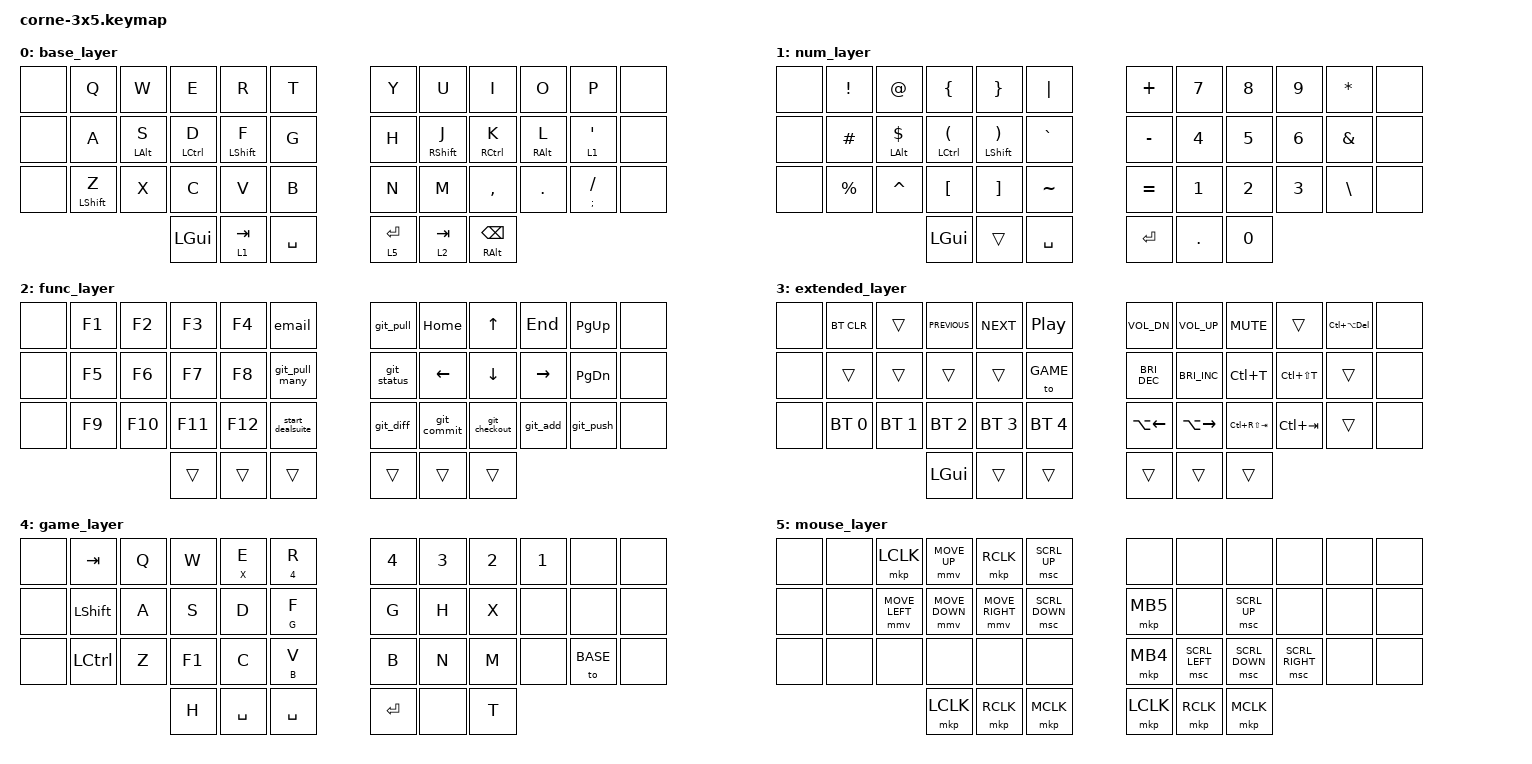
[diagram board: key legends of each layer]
/*
 * Copyright (c) 2020 The ZMK Contributors
 *
 * SPDX-License-Identifier: MIT
 */

#include <behaviors.dtsi>
#include <dt-bindings/zmk/bt.h>
#include <dt-bindings/zmk/keys.h>

#define ZMK_POINTING_DEFAULT_MOVE_VAL 1500  // default: 600
#define ZMK_POINTING_DEFAULT_SCRL_VAL 20    // default: 10

#include <dt-bindings/zmk/pointing.h>

#define BASE  0
#define NUM   1
#define FUNC  2
#define EXT   3
#define GAME  4
#define MOUSE 5

&soft_off {
    hold-time-ms = <2000>; // Only turn off it the key is held for 2 seconds or longer.
};


/ {
    behaviors {
        hm: homerow_mods {
            compatible = "zmk,behavior-hold-tap";
            bindings = <&kp>, <&kp>;

            #binding-cells = <2>;
            tapping-term-ms = <200>;
            flavor = "tap-preferred";
            require-prior-idle-ms = <125>;
            quick-tap-ms = <200>;
        };
    };

    combos {
        compatible = "zmk,combos";

        Clear_BLE_Profile {
            bindings = <&bt BT_CLR>;
            key-positions = <38 5 1>;
        };

        space {
            bindings = <&kp SPACE>;
            key-positions = <18 19>;
        };

        enter {
            bindings = <&kp ENTER>;
            key-positions = <17 16>;
        };

        return {
            bindings = <&kp RET>;
            key-positions = <21 22>;
        };

        escape {
            bindings = <&kp ESC>;
            key-positions = <1 2>;
        };

        underline {
            bindings = <&kp UNDER>;
            key-positions = <8 7>;
        };

        dash {
            bindings = <&kp MINUS>;
            key-positions = <7 6>;
        };

        backslsh {
            bindings = <&kp BSLH>;
            key-positions = <33 34>;
        };

        reload {
            bindings = <&kp LC(R)>;
            key-positions = <4 5>;
        };

        undo {
            bindings = <&kp LC(Z)>;
            key-positions = <26 25>;
        };

        cut {
            bindings = <&kp LC(X)>;
            key-positions = <26 27>;
        };

        copy {
            bindings = <&kp LC(C)>;
            key-positions = <27 28>;
        };

        paste {
            bindings = <&kp LC(V)>;
            key-positions = <28 29>;
        };

        select_all {
            bindings = <&kp LC(A)>;
            key-positions = <13 14>;
        };

        save {
            bindings = <&kp LC(S)>;
            key-positions = <14 15>;
        };

        all_caps {
            bindings = <&kp CAPS>;
            key-positions = <16 19>;
        };

        soft_off {
            bindings = <&soft_off>;
            key-positions = <25 29 38>;
        };

        backspace {
            bindings = <&kp BACKSPACE>;
            key-positions = <10 9>;
        };
    };

    macros {
        email: email {
            compatible = "zmk,behavior-macro";
            #binding-cells = <0>;
            bindings = <&none &kp B &kp R &kp Y &kp A &kp N &kp AT &kp P &kp E &kp C &kp J &kp O &kp DOT &kp C &kp O &kp M>;
            wait-ms = <0>; 
        };

        git_status: git_status {
            compatible = "zmk,behavior-macro";
            #binding-cells = <0>;
            bindings = <&kp G &kp I &kp T &kp SPACE &kp S &kp T &kp A &kp T &kp U &kp S>;
            wait-ms = <0>; 
        };

        git_pull: git_pull {
            compatible = "zmk,behavior-macro";
            #binding-cells = <0>;
            bindings = <&kp G &kp I &kp T &kp SPACE &kp P &kp U &kp L &kp L>;
            wait-ms = <0>; 
        };

        git_pull_many: git_pull_many {
            compatible = "zmk,behavior-macro";
            #binding-cells = <0>;
            bindings = <
                &kp LC(R) &kp G &kp I &kp T &kp SPACE
                &kp MINUS &kp LEFT_SHIFT &kp C
                &kp SPACE &kp LBRC &kp RBRC &kp SPACE
                &kp P &kp U &kp L &kp L &kp SQT
            >;
            wait-ms = <0>; 
        };

        git_push: git_push {
            compatible = "zmk,behavior-macro";
            #binding-cells = <0>;
            bindings = <&kp G &kp I &kp T &kp SPACE &kp P &kp U &kp S &kp H>;
            wait-ms = <0>; 
        };

        git_add: git_add {
            compatible = "zmk,behavior-macro";
            #binding-cells = <0>;
            bindings = <&kp G &kp I &kp T &kp SPACE &kp A &kp D &kp D &kp SPACE &kp DOT>;
            wait-ms = <0>; 
        };

        git_diff: git_diff {
            compatible = "zmk,behavior-macro";
            #binding-cells = <0>;
            bindings = <&kp G &kp I &kp T &kp SPACE &kp D &kp I &kp F &kp F>;
            wait-ms = <0>; 
        };

        git_checkout: git_checkout {
            compatible = "zmk,behavior-macro";
            #binding-cells = <0>;
            bindings = <&kp G &kp I &kp T &kp SPACE &kp C &kp H &kp E &kp C &kp K &kp O &kp U &kp T &kp SPACE>;
            wait-ms = <0>; 
        };

        git_commit: git_commit {
            compatible = "zmk,behavior-macro";
            #binding-cells = <0>;
            bindings = <
                &kp G &kp I &kp T &kp SPACE &kp C &kp O &kp M &kp M &kp I &kp T &kp SPACE 
                &kp MINUS &kp M &kp SPACE &kp DOUBLE_QUOTES &kp DOUBLE_QUOTES &kp LEFT
            >;
            wait-ms = <0>; 
        };

        start_dealsuite: start_dealsuite {
            compatible = "zmk,behavior-macro";
            #binding-cells = <0>;
            bindings = <
                // CTRL+R, 'cele', Return, press 1, Return
                &kp LC(R)
                &macro_wait_time 50
                &kp C &kp E &kp L &kp E 
                &macro_wait_time 1000 
                &kp RET &kp N1 &kp RET

                // New Tab, CTRL+R, 'run d', Return
                &macro_wait_time 2000
                &kp LC(LS(N5))
                &kp LC(R)
                &macro_wait_time 50
                &kp R &kp U &kp N &kp SPACE &kp D &kp RET

                // New Tab, CTRL+R, type 'app.p', Return
                &macro_wait_time 2000
                &kp LC(LS(N5))
                &kp LC(R)
                &macro_wait_time 50
                &kp A &kp P &kp P &kp DOT &kp P &kp RET

                // New Tab, CTRL+R, 'runse', Return
                &macro_wait_time 2000
                &kp LC(LS(N5))
                &kp LC(R)
                &macro_wait_time 50
                &kp R &kp U &kp N &kp S &kp E &kp RET
            >;
        };
    };

    keymap {
        compatible = "zmk,keymap";

        base_layer {
            //╭──────────┬──────────┬──────────┬──────────┬──────────╮   ╭──────────┬──────────┬──────────┬──────────┬──────────╮
            //│    Q   [esc]  W     │     E    │    R [reload]  T    │   │   Y    [ - ]  U   [ _ ]  I     │   O    [ ⌫ ]  P    │
            //├──────────┼──────────┼──────────┼──────────┼──────────┤   ├──────────┼──────────┼──────────┼──────────┼──────────┤
            //│    A   [all]  S   [save]  D    │    F   [ ↵ ]   G    │   │   H   [space]  J    │    K     │   L    [ ↵ ]  '"    │
            //├──────────┼──────────┼──────────┼──────────┼──────────┤   ├──────────┼──────────┼──────────┼──────────┼──────────┤
            //│    Z  [undo]  X   [cut]   C  [copy] V  [paste]  B    │   │   N      │    M     │   ,<     │  .>    [ \ ]  /?    │
            //╰──────────┴──────────┼──────────┼──────────┼──────────┤   ├──────────┼──────────┼──────────┼──────────┴──────────╯
            //                      │  WIN     │  LWR/↹  │  SPACE   │   │  🖯/⏎    │  RSE/↹  │  ALT/⌫  │
            //                      ╰──────────┴──────────┴──────────╯   ╰──────────┴──────────┴──────────╯

            bindings = <
&none  &kp Q             &kp W           &kp E        &kp R             &kp T        &kp Y     &kp U             &kp I                    &kp O            &kp P         &none
&none  &kp A             &hm LEFT_ALT S  &hm LCTRL D  &hm LEFT_SHIFT F  &kp G        &kp H     &hm RIGHT_SHIFT J &hm RCTRL K              &hm RIGHT_ALT L  &lt 1 SQT     &none
&none  &hm LEFT_SHIFT Z  &kp X           &kp C        &kp V             &kp B        &kp N     &kp M             &kp COMMA                &kp DOT          &hm SEMI FSLH &none
                                         &kp LGUI     &lt 1 TAB         &kp SPACE    &lt 5 RET &lt 2 TAB         &hm RIGHT_ALT BACKSPACE
            >;
        };

        num_layer {
            //╭──────────┬──────────┬──────────┬──────────┬──────────╮   ╭──────────┬──────────┬──────────┬──────────┬──────────╮
            //|  !       |  @       |  {       |  }       | "|"      |   |  +       |  7       |  8       |  9       |  *       |
            //├──────────┼──────────┼──────────┼──────────┼──────────┤   ├──────────┼──────────┼──────────┼──────────┼──────────┤
            //|  #       |  $       |  (       |  )       |  `       |   |  -       |  4       |  5       |  6       |  &       |
            //├──────────┼──────────┼──────────┼──────────┼──────────┤   ├──────────┼──────────┼──────────┼──────────┼──────────┤
            //|  %       |  ^       |  [       |  ]       |  ~       |   |  =       |  1       |  2       |  3       |  \       |
            //╰──────────┴──────────┼──────────┼──────────┼──────────┤   ├──────────┼──────────┼──────────┼──────────┴──────────╯
            //                      |  WIN     |          |  SPACE   │   │  ENTER   │  .       |  0       |
            //                      ╰──────────┴──────────┴──────────╯   ╰──────────┴──────────┴──────────╯

            bindings = <
&none  &kp EXCL     &kp AT               &kp LBRC        &kp RBRC             &kp PIPE     &kp PLUS   &kp N7   &kp N8  &kp N9  &kp STAR  &none
&none  &kp HASH     &hm LEFT_ALT DOLLAR  &hm LCTRL LPAR  &hm LEFT_SHIFT RPAR  &kp GRAVE    &kp MINUS  &kp N4   &kp N5  &kp N6  &kp AMPS  &none
&none  &kp PERCENT  &kp CARET            &kp LBKT        &kp RBKT             &kp TILDE    &kp EQUAL  &kp N1   &kp N2  &kp N3  &kp BSLH  &none
                                         &kp LGUI        &trans               &kp SPACE    &kp RET    &kp DOT  &kp N0
            >;
        };

        func_layer {
            //╭──────────┬──────────┬──────────┬──────────┬──────────╮   ╭──────────┬──────────┬──────────┬──────────┬──────────╮
            //|   F1     |  F2      |  F3      |  F4      | email    |   | g.pull   |  HOME    |  ▲       |  END     |  PG_UP   |
            //├──────────┼──────────┼──────────┼──────────┼──────────┤   ├──────────┼──────────┼──────────┼──────────┼──────────┤
            //|   F5     |  F6      |  F7      |  F8      | g.pull_m |   | g.status |   ◄      |  ▼       |  ►       |  PG_DN   |
            //├──────────┼──────────┼──────────┼──────────┼──────────┤   ├──────────┼──────────┼──────────┼──────────┼──────────┤
            //|   F9     |  F10     |  F11     |  F12     | dealsuit |   | g.diff   | g.commit | g.chkout |  g.add   |  g.push  |
            //╰──────────┴──────────┼──────────┼──────────┼──────────┤   ├──────────┼──────────┼──────────┼──────────┴──────────╯
            //                      |  WIN     |          |          |   |          |  RSE     |  RALT    |
            //                      ╰──────────┴──────────┴──────────╯   ╰──────────┴──────────┴──────────╯

            bindings = <
&none  &kp F1  &kp F2   &kp F3   &kp F4   &email            &git_pull    &kp HOME     &kp UP         &kp END    &kp PG_UP      &none
&none  &kp F5  &kp F6   &kp F7   &kp F8   &git_pull_many    &git_status  &kp LEFT     &kp DOWN       &kp RIGHT  &kp PAGE_DOWN  &none
&none  &kp F9  &kp F10  &kp F11  &kp F12  &start_dealsuite  &git_diff    &git_commit  &git_checkout  &git_add   &git_push      &none
                        &trans   &trans   &trans            &trans       &trans       &trans
            >;
        };

        extended_layer {
            //╭──────────┬──────────┬──────────┬──────────┬──────────╮   ╭──────────┬──────────┬──────────┬──────────┬──────────╮
            //| BT CLR   |          |  Prv     |  Nxt     |  ►II     |   |  Vol-    |  Vol+    |  Mute    |          |  ^ALT⌦  |
            //├──────────┼──────────┼──────────┼──────────┼──────────┤   ├──────────┼──────────┼──────────┼──────────┼──────────┤
            //|          |          |          |          |          |   |  Bri-    |  Bri+    |  ^ T     |  ^⇧ T    |          |
            //├──────────┼──────────┼──────────┼──────────┼──────────┤   ├──────────┼──────────┼──────────┼──────────┼──────────┤
            //|  BT1     |  BT2     |  BT3     |  BT4     |  BT5     |   |  alt-L   |  alt-R   |  ^ Tab   |  ^⇧ Tab  |          |
            //╰──────────┴──────────┼──────────┼──────────┼──────────┤   ├──────────┼──────────┼──────────┼──────────┴──────────╯
            //                      |  WIN     |          |          |   |          |          |          |
            //                      ╰──────────┴──────────┴──────────╯   ╰──────────┴──────────┴──────────╯
            bindings = <
&none  &bt BT_CLR    &trans        &kp C_PREVIOUS  &kp C_NEXT    &kp C_PLAY_PAUSE    &kp C_VOL_DN          &kp C_VOL_UP          &kp C_MUTE       &trans         &kp LC(LA(DEL))  &none
&none  &trans        &trans        &trans          &trans        &to GAME            &kp C_BRIGHTNESS_DEC  &kp C_BRIGHTNESS_INC  &kp LC(T)        &kp LC(LS(T))  &trans           &none
&none  &bt BT_SEL 0  &bt BT_SEL 1  &bt BT_SEL 2    &bt BT_SEL 3  &bt BT_SEL 4        &kp LA(LEFT)          &kp LA(RIGHT)         &kp LC(RS(TAB))  &kp LC(TAB)    &trans           &none
                                   &kp LGUI        &trans        &trans              &trans                &trans                &trans
            >;
        };

        game_layer {
            //╭──────────┬──────────┬──────────┬──────────┬──────────╮   ╭──────────┬──────────┬──────────┬──────────┬──────────╮
            //|  Inv     |  Tact.A  |  ▲       |  Hands   |  Reload  |   | Health   |  3       |  4       |   1      |   2      |
            //├──────────┼──────────┼──────────┼──────────┼──────────┤   ├──────────┼──────────┼──────────┼──────────┼──────────┤
            //|  Sprint  |  ◄       |  ▼       |  ►       |  Ping    |   | Grenade  | CharMove |  X       |          |          |
            //├──────────┼──────────┼──────────┼──────────┼──────────┤   ├──────────┼──────────┼──────────┼──────────┼──────────┤
            //|  Crouch  |  Ulti.A  |  F1      |  Crouch  |  Melee   |   | FireMode | Look Gun |  Map     |          |  BASE L  |
            //╰──────────┴──────────┼──────────┼──────────┼──────────┤   ├──────────┼──────────┼──────────┼──────────┴──────────╯
            //                      |  Grenade |  Health  | Jump     │   │  ENTER   │          |  T       |
            //                      ╰──────────┴──────────┴──────────╯   ╰──────────┴──────────┴──────────╯
            bindings = <
&none  &kp TAB    &kp Q  &kp W   &hm X E    &hm N4 R     &kp N4   &kp N3  &kp N2  &kp N1  &none     &none
&none  &kp LSHFT  &kp A  &kp S   &kp D      &hm G F      &kp G    &kp H   &kp X   &none   &none     &none
&none  &kp LCTRL  &kp Z  &kp F1  &kp C      &hm B V      &kp B    &kp N   &kp M   &none   &to BASE  &none
                         &kp H   &kp SPACE  &kp SPACE    &kp RET  &none   &kp T
            >;
        };

        mouse_layer {
            //╭──────────┬──────────┬──────────┬──────────┬──────────╮   ╭──────────┬──────────┬──────────┬──────────┬──────────╮
            //|          | L.Click  |  ▲       | R.Click  |  S ▲     |   |          |          |          |          |          |
            //├──────────┼──────────┼──────────┼──────────┼──────────┤   ├──────────┼──────────┼──────────┼──────────┼──────────┤
            //|          |  ◄       |  ▼       |  ►       |  S ▼     |   | forward  |          |  S ▲     |          |          |
            //├──────────┼──────────┼──────────┼──────────┼──────────┤   ├──────────┼──────────┼──────────┼──────────┼──────────┤
            //|          |          |          |          |          |   |   back   |  S ◄     |  S ▼     |  S ►     |          |
            //╰──────────┴──────────┼──────────┼──────────┼──────────┤   ├──────────┼──────────┼──────────┼──────────┴──────────╯
            //                      | L.Click  | R.Click  | M.Click  │   │ L.Click  | R.Click  | M.Click  |
            //                      ╰──────────┴──────────┴──────────╯   ╰──────────┴──────────┴──────────╯
            bindings = <
&none  &none  &mkp LCLK      &mmv MOVE_UP   &mkp RCLK       &msc SCRL_UP      &none      &none          &none          &none           &none  &none
&none  &none  &mmv MOVE_LEFT &mmv MOVE_DOWN &mmv MOVE_RIGHT &msc SCRL_DOWN    &mkp MB5   &none          &msc SCRL_UP   &none           &none  &none
&none  &none  &none          &none          &none           &none             &mkp MB4   &msc SCRL_LEFT &msc SCRL_DOWN &msc SCRL_RIGHT &none  &none
                             &mkp LCLK      &mkp RCLK       &mkp MCLK         &mkp LCLK  &mkp RCLK &mkp MCLK
            >;
        };
    };

    conditional_layers {
        compatible = "zmk,conditional-layers";

        Activate_EXT {
            if-layers = <1 2>;
            then-layer = <3>;
        };
    };
};
